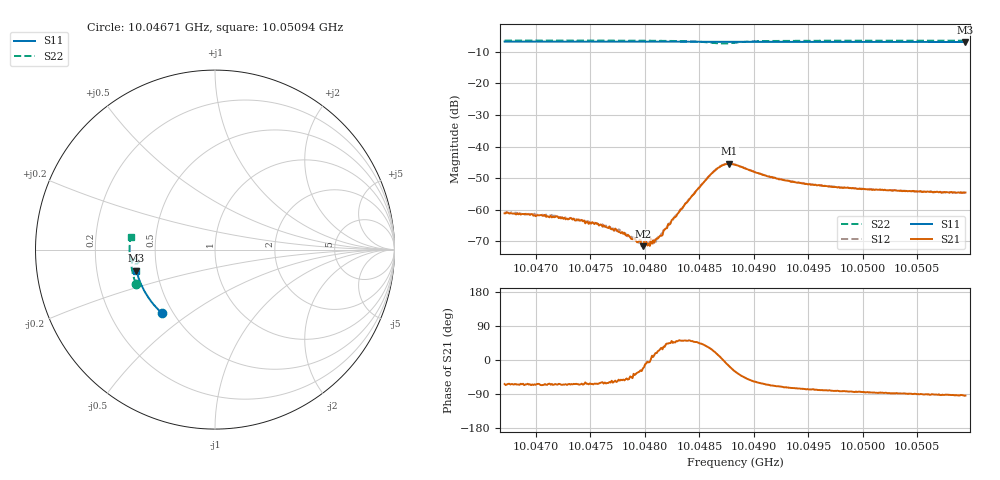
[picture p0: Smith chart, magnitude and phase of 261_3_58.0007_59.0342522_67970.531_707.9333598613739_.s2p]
#  HZ  S  RI  R  50.00
! Rohde & Schwarz Vector Network Analyzer
! Rohde-Schwarz,ZNB20-2Port,1311601062101988,3.16
! Created: UTC 3/21/2024, 1:01:59 AM
! freq[Hz]  re:S11  im:S11  re:S21  im:S21  re:S12  im:S12  re:S22  im:S22
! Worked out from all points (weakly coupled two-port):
!   401 points, 10.04671 GHz to 10.05094 GHz, reference 50 ohm
!   highest |S21| = -45.47 dB at 10.04877 GHz (marker M1); lowest = -71.6 dB at 10.04798 GHz (marker M2)
!   lowest |S11| = -6.9 dB at 10.05094 GHz (marker M3), VSWR 2.66, Z = 19.1 - j5.6 ohm
!   |S11| at or under -10 dB: nowhere
!   |S22| runs from -7.4 to -6.4 dB; largest |S21 - S12| = 0.00035
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1.0046713e10  -0.2973 -0.352  0.000391 -0.00078  0.000459 -0.000771  -0.4404 -0.1898
1.0047157e10  -0.3185 -0.3317  0.000315 -0.000702  0.000408 -0.000691  -0.4508 -0.1615
1.0047421e10  -0.3304 -0.3189  0.000317 -0.000608  0.000346 -0.000605  -0.4558 -0.1439
1.0047474e10  -0.333 -0.3162  0.000294 -0.000569  0.000351 -0.000561  -0.4569 -0.1402
1.0047569e10  -0.3372 -0.3116  0.00027 -0.000531  0.00031 -0.000509  -0.4585 -0.1338
1.0047749e10  -0.3447 -0.3027  0.000257 -0.00038  0.000266 -0.000367  -0.4614 -0.121
1.0047876e10  -0.3499 -0.296  0.000242 -0.000243  0.00029 -0.000234  -0.4628 -0.1116
1.004796e10  -0.3534 -0.2915  0.000293 -0.000151  0.000297 -0.000126  -0.4636 -0.1052
1.0047982e10  -0.3543 -0.2903  0.000244 -0.000101  0.00027 -9.53e-05  -0.4639 -0.1036
1.0048024e10  -0.356 -0.2882  0.000269 -2.09e-05  0.000285 -1.94e-05  -0.4642 -0.1001
1.0048077e10  -0.3581 -0.2855  0.000322 4.56e-05  0.000287 4.47e-05  -0.4645 -0.0957
1.004813e10  -0.3603 -0.2826  0.000332 0.000154  0.000339 0.00019  -0.4648 -0.0912
1.0048383e10  -0.3699 -0.2691  0.000808 0.001  0.000763 0.00105  -0.4615 -0.0675
1.0048595e10  -0.3774 -0.2572  0.00294 0.0018  0.00284 0.00199  -0.4414 -0.0494
1.0048701e10  -0.3809 -0.2515  0.0049 0.000449  0.00491 0.000736  -0.425 -0.0584
1.0048775e10  -0.3834 -0.2475  0.0051 -0.00152  0.00522 -0.0012  -0.4267 -0.073
1.0048827e10  -0.3853 -0.2445  0.00443 -0.00259  0.00465 -0.00232  -0.4348 -0.0789
1.0049134e10  -0.3955 -0.2273  0.0014 -0.00305  0.0016 -0.003  -0.4666 -0.0593
1.0049536e10  -0.4074 -0.2036  0.000547 -0.00244  0.000681 -0.0024  -0.4745 -0.0256
1.004979e10  -0.4143 -0.1884  0.000292 -0.00221  0.000424 -0.00222  -0.4759 -0.00685
1.0050244e10  -0.4251 -0.1605  0.000102 -0.00203  0.000239 -0.00202  -0.4754 0.0253
1.0050942e10  -0.4381 -0.1165  -0.000126 -0.00186  -1.04e-05 -0.00186  -0.4702 0.0721
